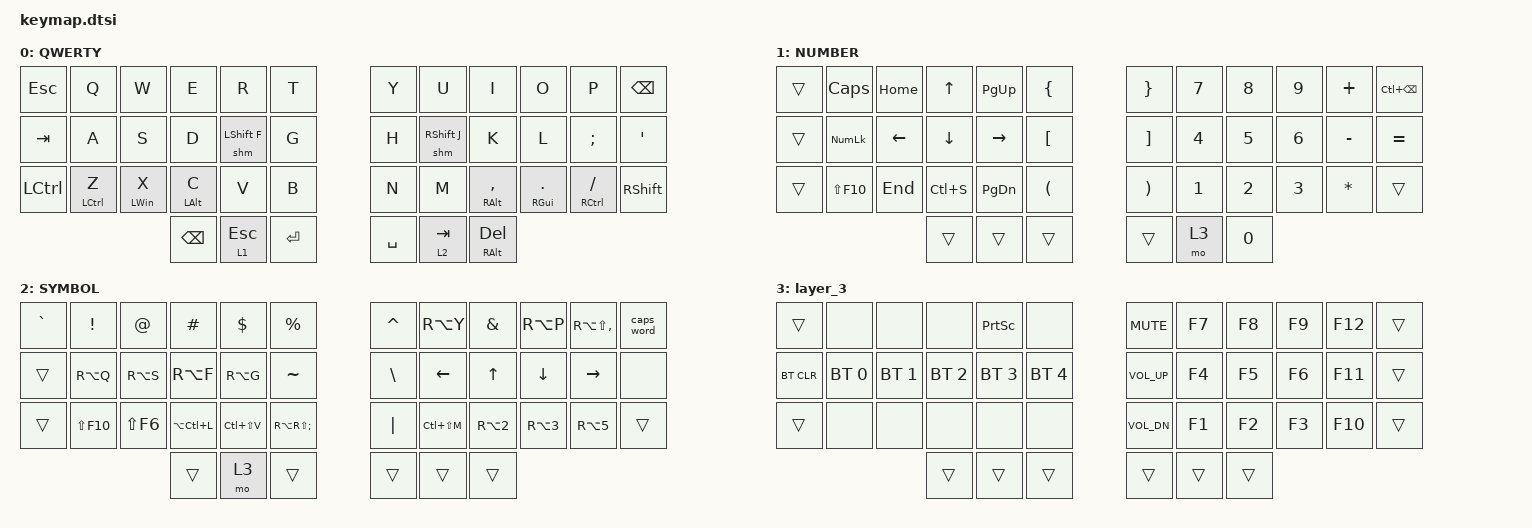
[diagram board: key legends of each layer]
keymap {
        compatible = "zmk,keymap";

        default_layer {
            display-name = "QWERTY";

            // --------------------------------------------------------------------------------
            // | ESC  |  Q  |  W  |  E  |  R  |  T  |   |  Y  |  U   |  I  |  O  |  P  |  |   |
            // | TAB  |  A  |  S  |  D* |  F* |  G  |   |  H  |  J*  |  K* |  L  |  ;  |  '   |
            // | CTRL |  Z* |  X* |  C  |  V  |  B  |   |  N  |  M   |  ,* |  .* |  /  | EQUAL|
            //                    |BKSP |LWR* |ENT* |   | SPC | RSE* |DEL* |

            bindings = <
&kp ESC    &kp Q        &kp W       &kp E       &kp R              &kp T         &kp Y      &kp U               &kp I           &kp O         &kp P            &kp BSPC
&kp TAB    &kp A        &kp S       &kp D       &shm LEFT_SHIFT F  &kp G         &kp H      &shm RIGHT_SHIFT J  &kp K           &kp L         &kp SEMI         &kp SQT
&kp LCTRL  &hm LCTRL Z  &hm LWIN X  &hm LALT C  &kp V              &kp B         &kp N      &kp M               &hm RALT COMMA  &hm RGUI DOT  &hm RCTRL SLASH  &kp RSHFT
                                    &kp BSPC    &lt 1 ESC          &kp RETURN    &kp SPACE  &lt 2 TAB           &hm RALT DEL
            >;
        };

        lower_layer {
            display-name = "NUMBER";

            // Lower
            //  ,-----------------------------------------------------.                    ,-----------------------------------------------------.
            //  |    ▼   | CAPSLCK|  Home  |   ↑    |   Pg↑  |   {    |                    |    }   |   7    |   8    |   9    |   +    |  Del   |
            //  |--------+--------+--------+--------+--------+--------|                    |--------+--------+--------+--------+--------+--------|
            //  |    ▼   | NUMLCK |   ←    │   ↓    │    →   |   [    |                    |    ]   |   4    |   5    |   6    |   -    |   =    |
            //  |--------+--------+--------+--------+--------+--------|                    |--------+--------+--------+--------+--------+--------|
            //  |    ▼   |        |  End   |  SAVE  |   Pg↓  |   (    |                    |    )   |   1    |   2    |   3    |   *    |   ▼    |
            //  `--------+--------+--------+--------+--------+--------+--------.  .--------+--------+--------+--------+--------+--------+--------'
            //                                      |    ▼   |   ▼    |    ▼   |  |   -    | Adjust |   0    |
            //                                      `--------------------------'  `--------------------------'

            bindings = <
&trans  &kp CAPSLOCK    &kp HOME  &kp UP     &kp PG_UP      &kp LBRC    &kp RBRC  &kp N7  &kp N8  &kp N9  &kp PLUS      &kp LC(BSPC)
&trans  &kp KP_NUMLOCK  &kp LEFT  &kp DOWN   &kp RIGHT      &kp LBKT    &kp RBKT  &kp N4  &kp N5  &kp N6  &kp MINUS     &kp EQUAL
&trans  &kp LS(F10)     &kp END   &kp LC(S)  &kp PAGE_DOWN  &kp LPAR    &kp RPAR  &kp N1  &kp N2  &kp N3  &kp ASTERISK  &trans
                                  &trans     &trans         &trans      &trans    &mo 3   &kp N0
            >;
        };

        raise_layer {
            display-name = "SYMBOL";

            // Raise
            //  ,-----------------------------------------------------.                    ,-----------------------------------------------------.
            //  |   ~    |    !   |   @    |   #    |   $    |   %    |                    |    ^   │    Ü   │    &   │    Ö   │    °   │   Del  |
            //  |--------+--------+--------+--------+--------+--------|                    |--------+--------+--------+--------+--------+--------|
            //  |        │    Ä   │   SZ   │   è    │   é    │    ç   │                    │    /   │    £   │    €   │        │    µ   │        |
            //  |--------+--------+--------+--------+--------+--------|                    |--------+--------+--------+--------+--------+--------|
            //  |        │        │        │        │        │        │                    │    |   │        │    ²   │   ³    │        │        │
            //  `--------+--------+--------+--------+--------+--------+--------.  .--------+--------+--------+--------+--------+--------+--------'
            //                                      |        │ ADJUST │    -   │  │    ▼   │    ▼   │    ▼   │
            //                                      `--------------------------'  `--------------------------'

            bindings = <
&kp GRAVE  &kp EXCL     &kp AT      &kp HASH       &kp DLLR       &kp PRCNT                &kp CARET  &kp RA(Y)       &kp AMPS      &kp RA(P)       &kp RA(LS(COMMA))  &caps_word
&trans     &kp RA(Q)    &kp RA(S)   &kp RA(F)      &kp RA(G)      &kp TILDE                &kp BSLH   &kp LEFT_ARROW  &kp UP_ARROW  &kp DOWN_ARROW  &kp RIGHT_ARROW    &none
&trans     &kp LS(F10)  &kp LS(F6)  &kp LA(LC(L))  &kp LC(LS(V))  &kp RA(RS(SEMICOLON))    &kp PIPE   &kp LC(LS(M))   &kp RA(N2)    &kp RA(N3)      &kp RA(NUMBER_5)   &trans
                                    &trans         &mo 3          &trans                   &trans     &trans          &trans
            >;
        };

        // Adjust
        //  ,-----------------------------------------------------.                    ,-----------------------------------------------------.
        //  | Reset  |        |        |        |        | Print  |                    |  MUTE  |   F7   |   F8   |   F9   |  F12   |   ▼    |
        //  |--------+--------+--------+--------+--------+--------|                    |--------+--------+--------+--------+--------+--------|
        //  | BT CLR |  BT 0  |  BT 1  |  BT 2  |  BT 3  |  BT 4  |                    |  VOL↑  |   F4   |   F5   |   F6   |  F11   |   ▼    |
        //  |--------+--------+--------+--------+--------+--------|                    |--------+--------+--------+--------+--------+--------|
        //  |        |        |  Next  |  Play  |  Prv   |        |                    |  VOL↓  |   F1   |   F2   |   F3   |  F10   |   ▼    |
        //  `--------+--------+--------+--------+--------+--------+--------.  .--------+--------+--------+--------+--------+--------+--------'
        //                                      │    ▼   │    ▼   │    ▼   │  │    ▼   │    ▼   │    ▼   │ 
        //                                      `--------------------------'  `--------------------------'

        layer_3 {
            bindings = <
&trans      &none         &none         &none         &kp PSCRN     &none           &kp C_MUTE    &kp F7  &kp F8  &kp F9  &kp F12  &trans
&bt BT_CLR  &bt BT_SEL 0  &bt BT_SEL 1  &bt BT_SEL 2  &bt BT_SEL 3  &bt BT_SEL 4    &kp C_VOL_UP  &kp F4  &kp F5  &kp F6  &kp F11  &trans
&trans      &none         &none         &none         &none         &none           &kp C_VOL_DN  &kp F1  &kp F2  &kp F3  &kp F10  &trans
                                        &trans        &trans        &trans          &trans        &trans  &trans
            >;
        };
    };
